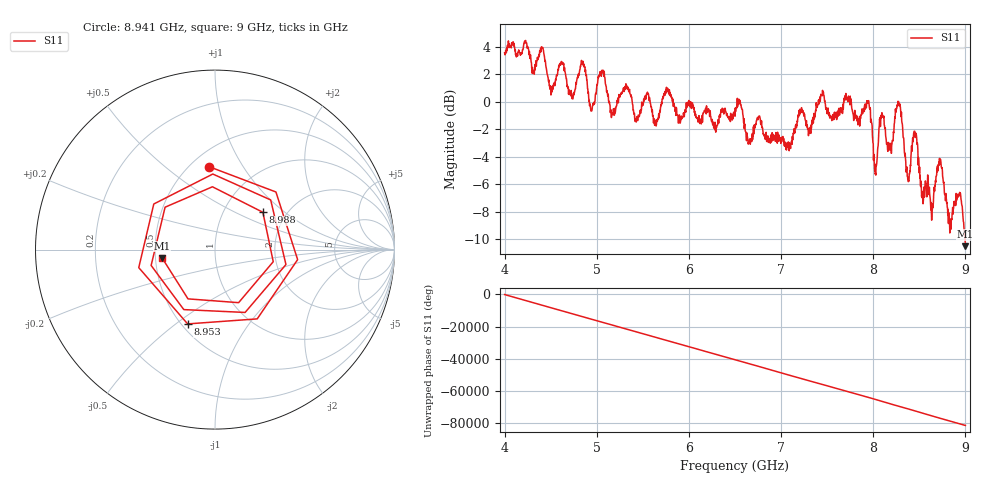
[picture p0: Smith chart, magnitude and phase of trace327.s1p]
! Created with skrf 1.8.0 (http://scikit-rf.org).
# Hz S RI R 50.0
!freq ReS11 ImS11
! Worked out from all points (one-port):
!   1601 points, 4 GHz to 9 GHz, reference 50 ohm
!   lowest |S11| = -10.5 dB at 9 GHz (marker M1), VSWR 1.85, Z = 27.1 - j2.75 ohm
!   |S11| at or under -10 dB: 8.996074 GHz to end of sweep
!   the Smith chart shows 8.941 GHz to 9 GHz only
!   S11 on the Smith chart (normalised r, x): 8.941 GHz: 0.61, +0.72; 8.953 GHz: 0.54, -0.55; 8.988 GHz: 1.52, +0.72; 9 GHz: 0.54, -0.06
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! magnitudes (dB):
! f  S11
! 4 GHz  3.6
! 4.406 GHz  4.0
! 4.509 GHz  0.7
! 4.625 GHz  2.8
! 4.728 GHz  0.5
! 4.853 GHz  2.9
! 4.944 GHz  -0.7
! 5.05 GHz  1.9
! 5.25 GHz  0.3
! 5.875 GHz  -1.0
! 6.5 GHz  -1.0
! 7.125 GHz  -2.8
! 7.75 GHz  0.4
! 7.944 GHz  0.0
! 8.028 GHz  -5.3
! 8.091 GHz  -0.9
! 8.178 GHz  -3.1
! 8.281 GHz  -0.2
! 8.375 GHz  -5.6
! 8.453 GHz  -2.2
! 8.538 GHz  -6.8
! 8.641 GHz  -7.8
! 8.722 GHz  -4.5
! 8.828 GHz  -8.7
! 8.941 GHz  -6.7
! 8.953 GHz  -7.1
! 8.988 GHz  -9.4
! 9 GHz  -10.5
